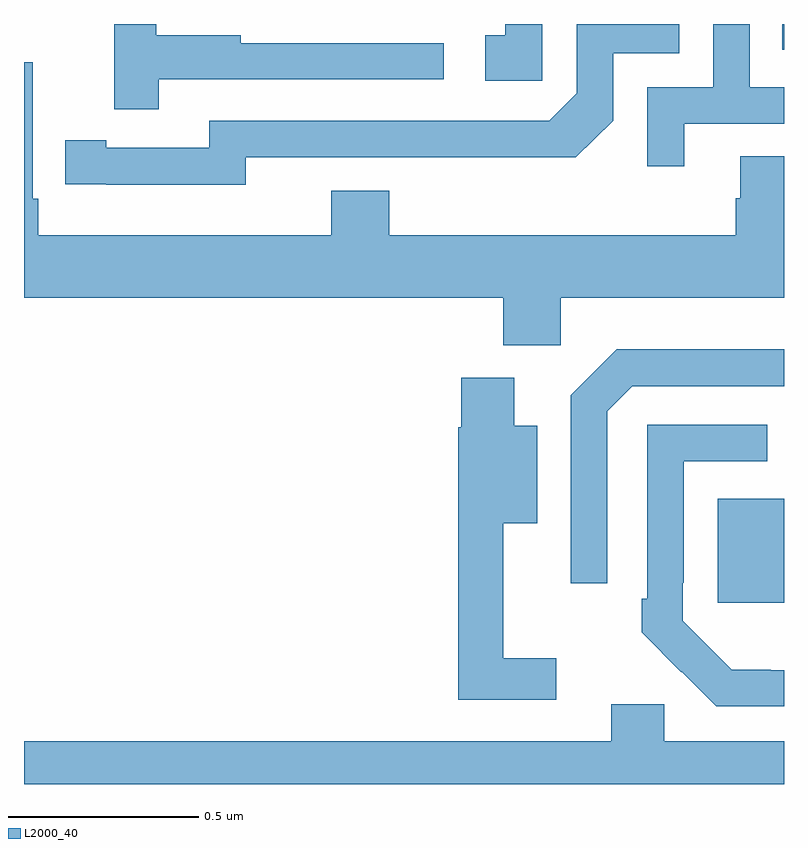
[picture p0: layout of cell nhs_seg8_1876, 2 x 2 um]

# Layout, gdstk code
import gdstk
lib = gdstk.Library(unit=1e-6, precision=1e-09)
def R(c, l, rs):  # rectangles x0, y0, x1, y1
    for r in rs: c.add(gdstk.rectangle(r[:2], r[2:], *l))
def P(c, l, *ps):  # polygons
    for p in ps: c.add(gdstk.Polygon(p, *l))
L2000_40 = (2000, 40)

nhs_seg8_1876 = lib.new_cell('nhs_seg8_1876')
R(nhs_seg8_1876, L2000_40, [(137.825,1102.377,138,1102.651), (137.995,1103.832,138,1103.9)])
P(nhs_seg8_1876, L2000_40, [(136.355,1103.754),(137.104,1103.754),(137.104,1103.85),(136.571,1103.85),(136.571,1103.87),(136.348,1103.87),(136.348,1103.9),(136.238,1103.9),(136.238,1103.676),(136.355,1103.676)],
  [(137.364,1103.9),(137.267,1103.9),(137.267,1103.871),(137.214,1103.871),(137.214,1103.751),(137.364,1103.751)],
  [(136.584,1103.55),(137.044,1103.55),(137.044,1103.549),(137.452,1103.549),(137.55,1103.646),(137.55,1103.823),(137.724,1103.823),(137.724,1103.9),(137.454,1103.9),(137.454,1103.718),(137.382,1103.646),(136.488,1103.646),(136.488,1103.574),(136.216,1103.574),(136.216,1103.594),(136.108,1103.594),(136.108,1103.478),(136.216,1103.478),(136.216,1103.477),(136.584,1103.477)],
  [(137.737,1103.637),(138,1103.637),(138,1103.733),(137.91,1103.733),(137.91,1103.9),(137.814,1103.9),(137.814,1103.733),(137.64,1103.733),(137.64,1103.526),(137.737,1103.526)],
  [(137.412,1103.18),(138,1103.18),(138,1103.552),(137.885,1103.552),(137.885,1103.442),(137.873,1103.442),(137.873,1103.344),(136.961,1103.344),(136.961,1103.461),(136.808,1103.461),(136.808,1103.344),(136.037,1103.344),(136.037,1103.44),(136.023,1103.44),(136.023,1103.8),(136,1103.8),(136,1103.18),(137.261,1103.18),(137.261,1103.054),(137.412,1103.054)],
  [(137.535,1102.881),(137.601,1102.947),(138,1102.947),(138,1103.044),(137.56,1103.044),(137.439,1102.923),(137.439,1102.428),(137.535,1102.428)],
  [(137.401,1102.231),(137.261,1102.231),(137.261,1102.586),(137.35,1102.586),(137.35,1102.843),(137.29,1102.843),(137.29,1102.969),(137.15,1102.969),(137.15,1102.839),(137.143,1102.839),(137.143,1102.122),(137.401,1102.122)],
  [(138,1102.2),(137.965,1102.2),(137.965,1102.201),(137.862,1102.201),(137.733,1102.329),(137.733,1102.429),(137.736,1102.429),(137.736,1102.749),(137.956,1102.749),(137.956,1102.845),(137.64,1102.845),(137.64,1102.387),(137.625,1102.387),(137.625,1102.299),(137.73,1102.194),(137.731,1102.195),(137.822,1102.104),(138,1102.104)],
  [(138,1102.012),(137.685,1102.012),(137.685,1102.11),(137.546,1102.11),(137.546,1102.012),(136,1102.012),(136,1101.9),(138,1101.9)])

lib.write_gds('nhs_seg8_1876.gds')
